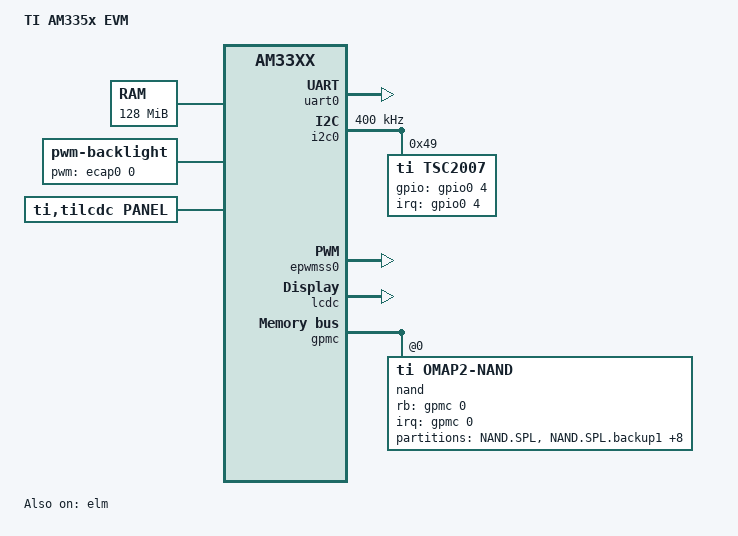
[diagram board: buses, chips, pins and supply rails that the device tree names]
/*
 * Copyright (C) 2012 Texas Instruments Incorporated - http://www.ti.com/
 *
 * This program is free software; you can redistribute it and/or modify
 * it under the terms of the GNU General Public License version 2 as
 * published by the Free Software Foundation.
 */

/*
 * AM335x Starter Kit
 * http://www.ti.com/tool/tmdssk3358
 */

/dts-v1/;

#include "am33xx.dtsi"
#include <dt-bindings/pwm/pwm.h>
#include <dt-bindings/interrupt-controller/irq.h>

/ {
	model = "TI AM335x EVM";
	compatible = "ti,am335x-evm", "ti,am33xx";

	chosen {
		stdout-path = &uart0;
	};

	cpus {
		cpu@0 {
			/* cpu0-supply = <&vdd1_reg>; */
		};
	};

	memory@80000000 {
		device_type = "memory";
		reg = <0x80000000 0x8000000>; /* 128 MB */
	};

	backlight {
		compatible = "pwm-backlight";
		pwms = <&ecap0 0 50000 0>;
		brightness-levels = <0 51 53 56 62 75 101 152 255>;
		default-brightness-level = <8>;
	};

	panel {
		compatible = "ti,tilcdc,panel";
		status = "okay";
		pinctrl-names = "default";
		pinctrl-0 = <&lcd_pins_s0>;
		panel-info {
			ac-bias           = <255>;
			ac-bias-intrpt    = <0>;
			dma-burst-sz      = <16>;
			bpp               = <32>;
			fdd               = <0x80>;
			sync-edge         = <0>;
			sync-ctrl         = <1>;
			raster-order      = <0>;
			fifo-th           = <0>;
		};

		display-timings {
			800x480p62 {
				clock-frequency = <30000000>;
				hactive = <800>;
				vactive = <480>;
				hfront-porch = <39>;
				hback-porch = <39>;
				hsync-len = <47>;
				vback-porch = <29>;
				vfront-porch = <13>;
				vsync-len = <2>;
				hsync-active = <1>;
				vsync-active = <1>;
			};
		};
	};
};

&am33xx_pinmux {
	pinctrl-names = "default";

	uart0_pins: pinmux_uart0_pins {
		pinctrl-single,pins = <
			AM33XX_PADCONF(AM335X_PIN_UART0_RXD, PIN_INPUT_PULLUP, MUX_MODE0)
			AM33XX_PADCONF(AM335X_PIN_UART0_TXD, PIN_OUTPUT_PULLDOWN, MUX_MODE0)
		>;
	};

	nandflash_pins_s0: nandflash_pins_s0 {
		pinctrl-single,pins = <
			AM33XX_PADCONF(AM335X_PIN_GPMC_AD0, PIN_INPUT_PULLUP, MUX_MODE0)
			AM33XX_PADCONF(AM335X_PIN_GPMC_AD1, PIN_INPUT_PULLUP, MUX_MODE0)
			AM33XX_PADCONF(AM335X_PIN_GPMC_AD2, PIN_INPUT_PULLUP, MUX_MODE0)
			AM33XX_PADCONF(AM335X_PIN_GPMC_AD3, PIN_INPUT_PULLUP, MUX_MODE0)
			AM33XX_PADCONF(AM335X_PIN_GPMC_AD4, PIN_INPUT_PULLUP, MUX_MODE0)
			AM33XX_PADCONF(AM335X_PIN_GPMC_AD5, PIN_INPUT_PULLUP, MUX_MODE0)
			AM33XX_PADCONF(AM335X_PIN_GPMC_AD6, PIN_INPUT_PULLUP, MUX_MODE0)
			AM33XX_PADCONF(AM335X_PIN_GPMC_AD7, PIN_INPUT_PULLUP, MUX_MODE0)
			AM33XX_PADCONF(AM335X_PIN_GPMC_WAIT0, PIN_INPUT_PULLUP, MUX_MODE0)
			AM33XX_PADCONF(AM335X_PIN_GPMC_WPN, PIN_INPUT_PULLUP, MUX_MODE7)	/* gpmc_wpn.gpio0_30 */
			AM33XX_PADCONF(AM335X_PIN_GPMC_CSN0, PIN_OUTPUT, MUX_MODE0)
			AM33XX_PADCONF(AM335X_PIN_GPMC_ADVN_ALE, PIN_OUTPUT, MUX_MODE0)
			AM33XX_PADCONF(AM335X_PIN_GPMC_OEN_REN, PIN_OUTPUT, MUX_MODE0)
			AM33XX_PADCONF(AM335X_PIN_GPMC_WEN, PIN_OUTPUT, MUX_MODE0)
			AM33XX_PADCONF(AM335X_PIN_GPMC_BEN0_CLE, PIN_OUTPUT, MUX_MODE0)
		>;
	};

	ecap0_pins: backlight_pins {
		pinctrl-single,pins = <
			AM33XX_PADCONF(AM335X_PIN_ECAP0_IN_PWM0_OUT, 0x0, MUX_MODE0)
		>;
	};

	lcd_pins_s0: lcd_pins_s0 {
		pinctrl-single,pins = <
			AM33XX_PADCONF(AM335X_PIN_GPMC_AD8, PIN_OUTPUT, MUX_MODE1)		/* gpmc_ad8.lcd_data23 */
			AM33XX_PADCONF(AM335X_PIN_GPMC_AD9, PIN_OUTPUT, MUX_MODE1)		/* gpmc_ad9.lcd_data22 */
			AM33XX_PADCONF(AM335X_PIN_GPMC_AD10, PIN_OUTPUT, MUX_MODE1)		/* gpmc_ad10.lcd_data21 */
			AM33XX_PADCONF(AM335X_PIN_GPMC_AD11, PIN_OUTPUT, MUX_MODE1)		/* gpmc_ad11.lcd_data20 */
			AM33XX_PADCONF(AM335X_PIN_GPMC_AD12, PIN_OUTPUT, MUX_MODE1)		/* gpmc_ad12.lcd_data19 */
			AM33XX_PADCONF(AM335X_PIN_GPMC_AD13, PIN_OUTPUT, MUX_MODE1)		/* gpmc_ad13.lcd_data18 */
			AM33XX_PADCONF(AM335X_PIN_GPMC_AD14, PIN_OUTPUT, MUX_MODE1)		/* gpmc_ad14.lcd_data17 */
			AM33XX_PADCONF(AM335X_PIN_GPMC_AD15, PIN_OUTPUT, MUX_MODE1)		/* gpmc_ad15.lcd_data16 */
			AM33XX_PADCONF(AM335X_PIN_LCD_DATA0, PIN_OUTPUT, MUX_MODE0)
			AM33XX_PADCONF(AM335X_PIN_LCD_DATA1, PIN_OUTPUT, MUX_MODE0)
			AM33XX_PADCONF(AM335X_PIN_LCD_DATA2, PIN_OUTPUT, MUX_MODE0)
			AM33XX_PADCONF(AM335X_PIN_LCD_DATA3, PIN_OUTPUT, MUX_MODE0)
			AM33XX_PADCONF(AM335X_PIN_LCD_DATA4, PIN_OUTPUT, MUX_MODE0)
			AM33XX_PADCONF(AM335X_PIN_LCD_DATA5, PIN_OUTPUT, MUX_MODE0)
			AM33XX_PADCONF(AM335X_PIN_LCD_DATA6, PIN_OUTPUT, MUX_MODE0)
			AM33XX_PADCONF(AM335X_PIN_LCD_DATA7, PIN_OUTPUT, MUX_MODE0)
			AM33XX_PADCONF(AM335X_PIN_LCD_DATA8, PIN_OUTPUT, MUX_MODE0)
			AM33XX_PADCONF(AM335X_PIN_LCD_DATA9, PIN_OUTPUT, MUX_MODE0)
			AM33XX_PADCONF(AM335X_PIN_LCD_DATA10, PIN_OUTPUT, MUX_MODE0)
			AM33XX_PADCONF(AM335X_PIN_LCD_DATA11, PIN_OUTPUT, MUX_MODE0)
			AM33XX_PADCONF(AM335X_PIN_LCD_DATA12, PIN_OUTPUT, MUX_MODE0)
			AM33XX_PADCONF(AM335X_PIN_LCD_DATA13, PIN_OUTPUT, MUX_MODE0)
			AM33XX_PADCONF(AM335X_PIN_LCD_DATA14, PIN_OUTPUT, MUX_MODE0)
			AM33XX_PADCONF(AM335X_PIN_LCD_DATA15, PIN_OUTPUT, MUX_MODE0)
			AM33XX_PADCONF(AM335X_PIN_LCD_VSYNC, PIN_OUTPUT, MUX_MODE0)
			AM33XX_PADCONF(AM335X_PIN_LCD_HSYNC, PIN_OUTPUT, MUX_MODE0)
			AM33XX_PADCONF(AM335X_PIN_LCD_PCLK, PIN_OUTPUT, MUX_MODE0)
			AM33XX_PADCONF(AM335X_PIN_LCD_AC_BIAS_EN, PIN_OUTPUT, MUX_MODE0)
		>;
	};

	i2c0_pins: pinmux_i2c0_pins {
		pinctrl-single,pins = <
			AM33XX_PADCONF(AM335X_PIN_I2C0_SDA, PIN_INPUT_PULLUP, MUX_MODE0)	/* i2c0_sda.i2c0_sda */
			AM33XX_PADCONF(AM335X_PIN_I2C0_SCL, PIN_INPUT_PULLUP, MUX_MODE0)	/* i2c0_scl.i2c0_scl */
		>;
	};
};

&uart0 {
	pinctrl-names = "default";
	pinctrl-0 = <&uart0_pins>;

	status = "okay";
};

&i2c0 {
	pinctrl-names = "default";
	pinctrl-0 = <&i2c0_pins>;

	status = "okay";
	clock-frequency = <400000>;

	tsc2007: tsc2007@49 {
	        compatible = "ti,tsc2007";
	        reg = <0x49>;
		interrupt-parent = <&gpio0>;
		interrupts = <4 IRQ_TYPE_LEVEL_LOW>;
		gpios = <&gpio0 4 0>;
		ti,x-plate-ohms = <180>;
		ti,initial-delay = <10>;
		ti,report-delay = <5>;
		ti,sample-delay = <5>;
	};
};

&elm {
	status = "okay";
};

&epwmss0 {
	status = "okay";

	ecap0: ecap@100 {
		status = "okay";
		pinctrl-names = "default";
		pinctrl-0 = <&ecap0_pins>;
	};
};

&lcdc {
	status = "okay";

	blue-and-red-wiring = "crossed";
};

&gpmc {
	status = "okay";
	pinctrl-names = "default";
	pinctrl-0 = <&nandflash_pins_s0>;
	ranges = <0 0 0x08000000 0x1000000>;	/* CS0: 16MB for NAND */
	nand@0,0 {
		compatible = "ti,omap2-nand";
		reg = <0 0 4>; /* CS0, offset 0, IO size 4 */
		interrupt-parent = <&gpmc>;
		interrupts = <0 IRQ_TYPE_NONE>, /* fifoevent */
			     <1 IRQ_TYPE_NONE>;	/* termcount */
		rb-gpios = <&gpmc 0 GPIO_ACTIVE_HIGH>; /* gpmc_wait0 */
		ti,nand-xfer-type = "prefetch-dma";
		ti,nand-ecc-opt = "bch8";
		ti,elm-id = <&elm>;
		nand-bus-width = <8>;
		gpmc,device-width = <1>;
		gpmc,sync-clk-ps = <0>;
		gpmc,cs-on-ns = <0>;
		gpmc,cs-rd-off-ns = <44>;
		gpmc,cs-wr-off-ns = <44>;
		gpmc,adv-on-ns = <6>;
		gpmc,adv-rd-off-ns = <34>;
		gpmc,adv-wr-off-ns = <44>;
		gpmc,we-on-ns = <0>;
		gpmc,we-off-ns = <40>;
		gpmc,oe-on-ns = <0>;
		gpmc,oe-off-ns = <54>;
		gpmc,access-ns = <64>;
		gpmc,rd-cycle-ns = <82>;
		gpmc,wr-cycle-ns = <82>;
		gpmc,wait-on-read = "true";
		gpmc,wait-on-write = "true";
		gpmc,bus-turnaround-ns = <0>;
		gpmc,cycle2cycle-delay-ns = <0>;
		gpmc,clk-activation-ns = <0>;
		gpmc,wait-monitoring-ns = <0>;
		gpmc,wr-access-ns = <40>;
		gpmc,wr-data-mux-bus-ns = <0>;
		/* MTD partition table */
		/* All SPL-* partitions are sized to minimal length
		 * which can be independently programmable. For
		 * NAND flash this is equal to size of erase-block */
		#address-cells = <1>;
		#size-cells = <1>;
		partition@0 {
			label = "NAND.SPL";
			reg = <0x00000000 0x000020000>;
		};
		partition@1 {
			label = "NAND.SPL.backup1";
			reg = <0x00020000 0x00020000>;
		};
		partition@2 {
			label = "NAND.SPL.backup2";
			reg = <0x00040000 0x00020000>;
		};
		partition@3 {
			label = "NAND.SPL.backup3";
			reg = <0x00060000 0x00020000>;
		};
		partition@4 {
			label = "NAND.u-boot-spl-os";
			reg = <0x00080000 0x00040000>;
		};
		partition@5 {
			label = "NAND.u-boot";
			reg = <0x000C0000 0x00100000>;
		};
		partition@6 {
			label = "NAND.u-boot-env";
			reg = <0x001C0000 0x00020000>;
		};
		partition@7 {
			label = "NAND.u-boot-env.backup1";
			reg = <0x001E0000 0x00020000>;
		};
		partition@8 {
			label = "NAND.kernel";
			reg = <0x00200000 0x00800000>;
		};
		partition@9 {
			label = "NAND.file-system";
			reg = <0x00A00000 0x07600000>;
		};
	};
};

